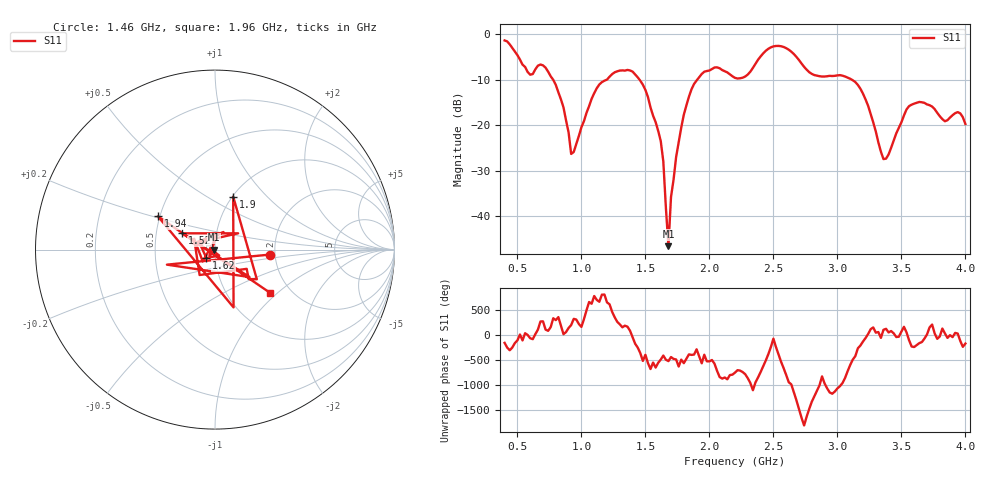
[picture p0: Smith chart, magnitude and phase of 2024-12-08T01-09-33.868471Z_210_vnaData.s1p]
!Created with skrf (http://scikit-rf.org).
# Hz S RI R 50.0
!freq ReS11 ImS11
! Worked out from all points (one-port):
!   181 points, 400 MHz to 4 GHz, reference 50 ohm
!   lowest |S11| = -46.5 dB at 1.68 GHz (marker M1), VSWR 1.01, Z = 49.5 - j0.112 ohm
!   |S11| at or under -10 dB: 780.4 MHz to 1.194 GHz (413.5 MHz wide, 41.9 % of centre); 1.456 GHz to 1.903 GHz (448 MHz wide, 26.7 % of centre); 3.116 GHz to end of sweep
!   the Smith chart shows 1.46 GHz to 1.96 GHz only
!   S11 on the Smith chart (normalised r, x): 1.46 GHz: 1.89, -0.11; 1.52 GHz: 0.68, +0.13; 1.62 GHz: 0.90, -0.09; 1.9 GHz: 1.01, +0.66; 1.94 GHz: 0.49, +0.21; 1.96 GHz: 1.57, -0.89
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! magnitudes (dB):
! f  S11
! 400 MHz  -1.3
! 600 MHz  -8.8
! 720 MHz  -7.3
! 860 MHz  -16.0
! 920 MHz  -26.3
! 1.12 GHz  -11.8
! 1.3 GHz  -7.9
! 1.46 GHz  -10.2
! 1.52 GHz  -13.8
! 1.62 GHz  -23.5
! 1.64 GHz  -27.9
! 1.68 GHz  -46.5
! 1.7 GHz  -35.7
! 1.76 GHz  -23.7
! 1.82 GHz  -15.6
! 1.9 GHz  -10.1
! 1.94 GHz  -8.7
! 1.96 GHz  -8.2
! 2.2 GHz  -9.5
! 2.48 GHz  -2.8
! 2.66 GHz  -4.3
! 2.82 GHz  -8.9
! 3.1 GHz  -9.7
! 3.22 GHz  -14.3
! 3.36 GHz  -27.4
! 3.56 GHz  -15.8
! 3.94 GHz  -17.1
! 4 GHz  -19.7
